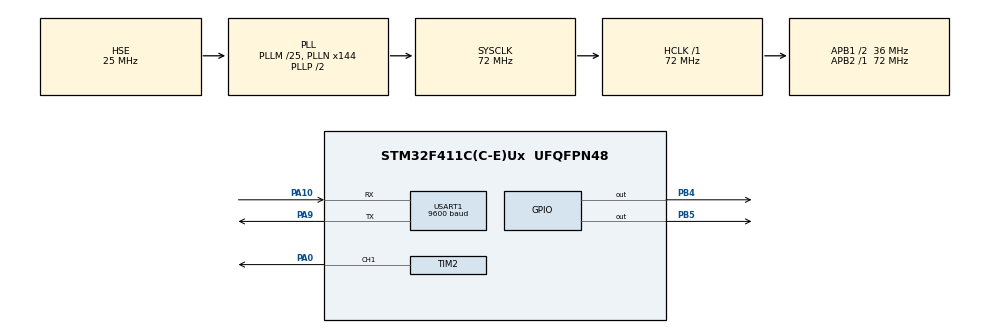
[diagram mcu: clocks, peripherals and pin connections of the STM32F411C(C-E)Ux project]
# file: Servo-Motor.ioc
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Mcu.Family=STM32F4
Mcu.Name=STM32F411C(C-E)Ux
Mcu.Package=UFQFPN48
NVIC.PriorityGroup=NVIC_PRIORITYGROUP_4
NVIC.TIM2_IRQn=true\:0\:0\:false\:false\:true\:true\:true\:true
NVIC.USART1_IRQn=true\:0\:0\:false\:false\:true\:true\:true\:true
PA0-WKUP.Signal=S_TIM2_CH1_ETR
PA10.Mode=Asynchronous
PA10.Signal=USART1_RX
PA13.Mode=Serial_Wire
PA13.Signal=SYS_JTMS-SWDIO
PA14.Mode=Serial_Wire
PA14.Signal=SYS_JTCK-SWCLK
PA9.Mode=Asynchronous
PA9.Signal=USART1_TX
PB4.Signal=GPIO_Output
PB5.Signal=GPIO_Output
PH0\ -\ OSC_IN.Mode=HSE-External-Oscillator
PH0\ -\ OSC_IN.Signal=RCC_OSC_IN
PH1\ -\ OSC_OUT.Mode=HSE-External-Oscillator
PH1\ -\ OSC_OUT.Signal=RCC_OSC_OUT
ProjectManager.HeapSize=0x200
ProjectManager.StackSize=0x400
ProjectManager.TargetToolchain=STM32CubeIDE
RCC.48MHZClocksFreq_Value=36000000
RCC.AHBFreq_Value=72000000
RCC.APB1CLKDivider=RCC_HCLK_DIV2
RCC.APB1Freq_Value=36000000
RCC.APB1TimFreq_Value=72000000
RCC.APB2Freq_Value=72000000
RCC.APB2TimFreq_Value=72000000
RCC.CortexFreq_Value=72000000
RCC.HCLKFreq_Value=72000000
RCC.HSE_VALUE=25000000
RCC.HSI_VALUE=16000000
RCC.LSE_VALUE=32768
RCC.PLLM=25
RCC.PLLN=144
RCC.PLLSourceVirtual=RCC_PLLSOURCE_HSE
RCC.SYSCLKFreq_VALUE=72000000
RCC.SYSCLKSource=RCC_SYSCLKSOURCE_PLLCLK
RCC.VCOOutputFreq_Value=144000000
SH.S_TIM2_CH1_ETR.0=TIM2_CH1,PWM Generation1 CH1
TIM2.Channel-PWM\ Generation1\ CH1=TIM_CHANNEL_1
TIM2.Period=20000
TIM2.Prescaler=72-1
TIM2.Pulse-PWM\ Generation1\ CH1=500
USART1.BaudRate=9600
USART1.VirtualMode=VM_ASYNC
VP_TIM2_VS_ClockSourceINT.Mode=Internal
board=custom

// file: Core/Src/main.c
/* USER CODE BEGIN Header */
/**
  ******************************************************************************
  * @file           : main.c
  * @brief          : Main program body
  ******************************************************************************
  * @attention
  *
  * Copyright (c) 2024 STMicroelectronics.
  * All rights reserved.
  *
  * This software is licensed under terms that can be found in the LICENSE file
  * in the root directory of this software component.
  * If no LICENSE file comes with this software, it is provided AS-IS.
  *
  ******************************************************************************
  */
/* USER CODE END Header */
#include "main.h"

TIM_HandleTypeDef htim2;

UART_HandleTypeDef huart1;

/* USER CODE BEGIN PV */
uint8_t rxData;
int8_t rot = 0;     // Rango de -9 a 9, valor inicial 0
float grad = 0.0;   // Puede tener valores decimales para PWM
/* USER CODE END PV */

void SystemClock_Config(void);
static void MX_GPIO_Init(void);
static void MX_TIM2_Init(void);
static void MX_USART1_UART_Init(void);

int main(void)
{

  /* MCU Configuration--------------------------------------------------------*/

  /* Reset of all peripherals, Initializes the Flash interface and the Systick. */
  HAL_Init();

  /* Configure the system clock */
  SystemClock_Config();

  /* Initialize all configured peripherals */
  MX_GPIO_Init();
  MX_TIM2_Init();
  MX_USART1_UART_Init();
  /* USER CODE BEGIN 2 */
  HAL_TIM_PWM_Start(&htim2, TIM_CHANNEL_1);
  HAL_UART_Receive_IT(&huart1,&rxData,1); // Enabling interrupt receive
  htim2.Instance -> CCR1 = 500; // 0 grados
  /* USER CODE END 2 */

  /* Infinite loop */
  while (1)
  {

  }
}

void SystemClock_Config(void)
{
  RCC_OscInitTypeDef RCC_OscInitStruct = {0};
  RCC_ClkInitTypeDef RCC_ClkInitStruct = {0};

  /** Configure the main internal regulator output voltage
  */
  __HAL_RCC_PWR_CLK_ENABLE();
  __HAL_PWR_VOLTAGESCALING_CONFIG(PWR_REGULATOR_VOLTAGE_SCALE1);

  /** Initializes the RCC Oscillators according to the specified parameters
  * in the RCC_OscInitTypeDef structure.
  */
  RCC_OscInitStruct.OscillatorType = RCC_OSCILLATORTYPE_HSE;
  RCC_OscInitStruct.HSEState = RCC_HSE_ON;
  RCC_OscInitStruct.PLL.PLLState = RCC_PLL_ON;
  RCC_OscInitStruct.PLL.PLLSource = RCC_PLLSOURCE_HSE;
  RCC_OscInitStruct.PLL.PLLM = 25;
  RCC_OscInitStruct.PLL.PLLN = 144;
  RCC_OscInitStruct.PLL.PLLP = RCC_PLLP_DIV2;
  RCC_OscInitStruct.PLL.PLLQ = 4;
  if (HAL_RCC_OscConfig(&RCC_OscInitStruct) != HAL_OK)
  {
    Error_Handler();
  }

  /** Initializes the CPU, AHB and APB buses clocks
  */
  RCC_ClkInitStruct.ClockType = RCC_CLOCKTYPE_HCLK|RCC_CLOCKTYPE_SYSCLK
                              |RCC_CLOCKTYPE_PCLK1|RCC_CLOCKTYPE_PCLK2;
  RCC_ClkInitStruct.SYSCLKSource = RCC_SYSCLKSOURCE_PLLCLK;
  RCC_ClkInitStruct.AHBCLKDivider = RCC_SYSCLK_DIV1;
  RCC_ClkInitStruct.APB1CLKDivider = RCC_HCLK_DIV2;
  RCC_ClkInitStruct.APB2CLKDivider = RCC_HCLK_DIV1;

  if (HAL_RCC_ClockConfig(&RCC_ClkInitStruct, FLASH_LATENCY_2) != HAL_OK)
  {
    Error_Handler();
  }
}

static void MX_TIM2_Init(void)
{

  TIM_ClockConfigTypeDef sClockSourceConfig = {0};
  TIM_MasterConfigTypeDef sMasterConfig = {0};
  TIM_OC_InitTypeDef sConfigOC = {0};

  htim2.Instance = TIM2;
  htim2.Init.Prescaler = 72-1;
  htim2.Init.CounterMode = TIM_COUNTERMODE_UP;
  htim2.Init.Period = 20000;
  htim2.Init.ClockDivision = TIM_CLOCKDIVISION_DIV1;
  htim2.Init.AutoReloadPreload = TIM_AUTORELOAD_PRELOAD_DISABLE;
  if (HAL_TIM_Base_Init(&htim2) != HAL_OK)
  {
    Error_Handler();
  }
  sClockSourceConfig.ClockSource = TIM_CLOCKSOURCE_INTERNAL;
  if (HAL_TIM_ConfigClockSource(&htim2, &sClockSourceConfig) != HAL_OK)
  {
    Error_Handler();
  }
  if (HAL_TIM_PWM_Init(&htim2) != HAL_OK)
  {
    Error_Handler();
  }
  sMasterConfig.MasterOutputTrigger = TIM_TRGO_RESET;
  sMasterConfig.MasterSlaveMode = TIM_MASTERSLAVEMODE_DISABLE;
  if (HAL_TIMEx_MasterConfigSynchronization(&htim2, &sMasterConfig) != HAL_OK)
  {
    Error_Handler();
  }
  sConfigOC.OCMode = TIM_OCMODE_PWM1;
  sConfigOC.Pulse = 500;
  sConfigOC.OCPolarity = TIM_OCPOLARITY_HIGH;
  sConfigOC.OCFastMode = TIM_OCFAST_DISABLE;
  if (HAL_TIM_PWM_ConfigChannel(&htim2, &sConfigOC, TIM_CHANNEL_1) != HAL_OK)
  {
    Error_Handler();
  }
  HAL_TIM_MspPostInit(&htim2);

}

static void MX_USART1_UART_Init(void)
{

  huart1.Instance = USART1;
  huart1.Init.BaudRate = 9600;
  huart1.Init.WordLength = UART_WORDLENGTH_8B;
  huart1.Init.StopBits = UART_STOPBITS_1;
  huart1.Init.Parity = UART_PARITY_NONE;
  huart1.Init.Mode = UART_MODE_TX_RX;
  huart1.Init.HwFlowCtl = UART_HWCONTROL_NONE;
  huart1.Init.OverSampling = UART_OVERSAMPLING_16;
  if (HAL_UART_Init(&huart1) != HAL_OK)
  {
    Error_Handler();
  }

}

static void MX_GPIO_Init(void)
{
  GPIO_InitTypeDef GPIO_InitStruct = {0};

  /* GPIO Ports Clock Enable */
  __HAL_RCC_GPIOH_CLK_ENABLE();
  __HAL_RCC_GPIOA_CLK_ENABLE();
  __HAL_RCC_GPIOB_CLK_ENABLE();

  /*Configure GPIO pin Output Level */
  HAL_GPIO_WritePin(GPIOB, GPIO_PIN_4|GPIO_PIN_5, GPIO_PIN_RESET);

  /*Configure GPIO pins : PB4 PB5 */
  GPIO_InitStruct.Pin = GPIO_PIN_4|GPIO_PIN_5;
  GPIO_InitStruct.Mode = GPIO_MODE_OUTPUT_PP;
  GPIO_InitStruct.Pull = GPIO_NOPULL;
  GPIO_InitStruct.Speed = GPIO_SPEED_FREQ_LOW;
  HAL_GPIO_Init(GPIOB, &GPIO_InitStruct);

}

/* USER CODE BEGIN 4 */
void HAL_UART_RxCpltCallback(UART_HandleTypeDef *huart)
{
  if(huart->Instance==USART1)
  {
    if(rxData==78) // Ascii value of 'N' is 78 (N for NO)
    {
    	HAL_GPIO_WritePin(GPIOB, GPIO_PIN_5, 1);
    	HAL_GPIO_WritePin(GPIOB, GPIO_PIN_4, 0);

    }
    else if (rxData==89) // Ascii value of 'Y' is 89 (Y for YES)
    {
    	HAL_GPIO_WritePin(GPIOB, GPIO_PIN_5, 0);
    	HAL_GPIO_WritePin(GPIOB, GPIO_PIN_4, 1);

    }
    else if (rxData==69) // Ascii value of 'E' is 89 (E for EXIT)
    {
        HAL_GPIO_WritePin(GPIOB, GPIO_PIN_5, 0);
        HAL_GPIO_WritePin(GPIOB, GPIO_PIN_4, 0);

    }
    else if (rxData ==65) //Ascii value of "A" is 65 (A for Servo)
    {
    	// Este condicional sirve para aumentar un grado hasta el maximo de 9 grados en el servo
    	if (rot > 10){
    		rot = 10;
    		grad = (rot + 45)/0.09;
    		htim2.Instance -> CCR1 = grad; //10 grados
    	}
    	else {
    		rot = rot + 2.5;
    		grad = (rot + 45)/0.09;
    		htim2.Instance -> CCR1 = grad; // aumenta 1
    	}

    }
    else if (rxData ==66) //Ascii value of "B" is 65 (B for Servo)
    {
    	// Este condicional sirve para disminur un grado hasta el minimo de -9 grados en el servo
    	if (rot < -10){
    		rot = -10;
    		grad = (rot + 45)/0.09;
    		htim2.Instance -> CCR1 = grad; //10 grados
    	}
    	else {
    		rot = rot - 2.5;
    		grad = (rot + 45)/0.09;
    		htim2.Instance -> CCR1 = grad; // aumenta 1
    	}

    }
    HAL_UART_Receive_IT(&huart1,&rxData,1); // Enabling interrupt receive again
  }
}
/* USER CODE END 4 */

void Error_Handler(void)
{
  __disable_irq();
  while (1)
  {
  }
}
